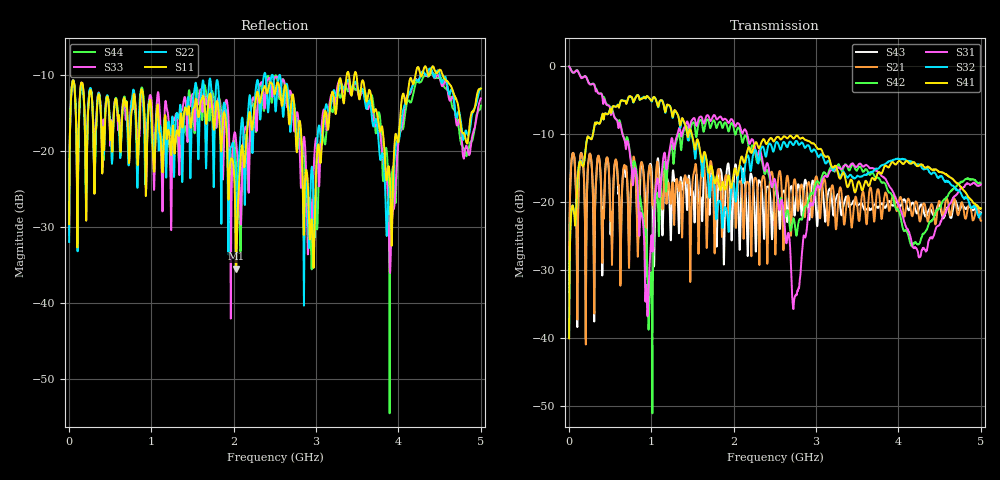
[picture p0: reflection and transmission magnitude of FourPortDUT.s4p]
# MHz MA S R 50.0
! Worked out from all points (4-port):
!   2000 points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, 2.5 MHz to 5 GHz, reference 50 ohm
!   strongest paths, dB at 2.5 MHz, 1.252 GHz, 2.502 GHz, 3.752 GHz, 5 GHz:
!     S41: -40.1, -7.2, -10.8, -15.7, -21.0
!     S32: -39.7, -7.3, -11.6, -15.1, -21.7
!     S31: -0.1, -10.7, -16.8, -15.6, -17.4
!     S42: -0.1, -12.0, -17.7, -16.4, -17.3
!     S21: -33.1, -17.6, -26.6, -18.2, -22.8
!     S43: -33.3, -17.8, -18.6, -20.9, -21.6
!   lowest |S11| = -35.5 dB at 2.03 GHz (marker M1), VSWR 1.03, Z = 51.4 - j0.896 ohm
!   |S11| at or under -10 dB: start of sweep to 3.372 GHz; 3.49 GHz to 4.207 GHz (717.3 MHz wide, 18.6 % of centre); 4.535 GHz to end of sweep (the widest 3 of 6)
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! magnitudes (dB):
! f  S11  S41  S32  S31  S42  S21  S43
! 2.5 MHz  -29.6  -40.1  -39.7  -0.1  -0.1  -33.1  -33.3
! 990 MHz  -13.4  -5.0  -5.0  -27.0  -31.2  -14.8  -14.4
! 1.232 GHz  -19.8  -6.1  -6.1  -11.6  -12.1  -20.0  -24.7
! 2.03 GHz  -35.5  -15.7  -19.7  -8.7  -9.9  -23.3  -14.9
! 2.735 GHz  -14.1  -10.7  -11.5  -34.3  -22.7  -16.8  -21.8
! 3.902 GHz  -25.9  -14.5  -14.0  -18.0  -18.7  -20.6  -20.1
! 5 GHz  -11.8  -21.0  -21.7  -17.4  -17.3  -22.8  -21.6
